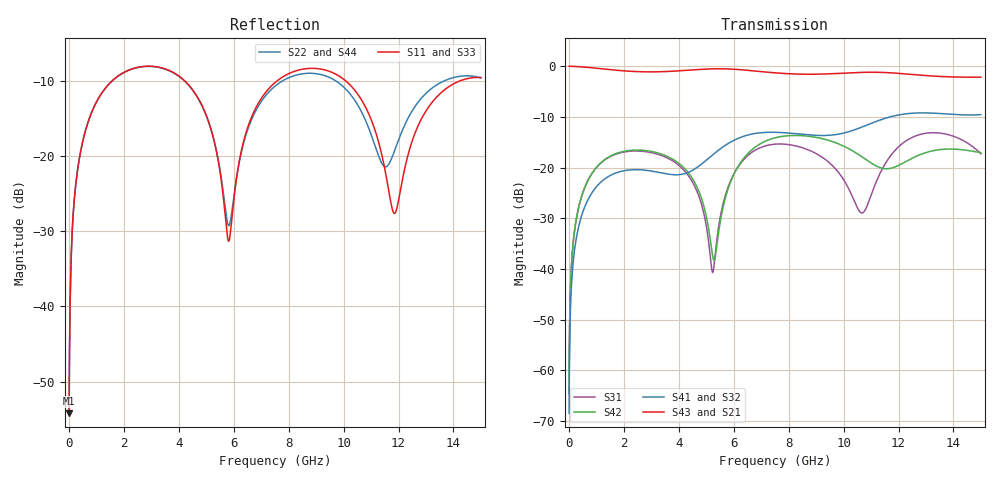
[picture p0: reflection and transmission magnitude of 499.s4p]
! Created with skrf 1.8.0 (http://scikit-rf.org).
# GHz S RI R 50.0
!freq ReS11 ImS11 ReS12 ImS12 ReS13 ImS13
! ReS14 ImS14
! ReS21 ImS21 ReS22 ImS22 ReS23 ImS23
! ReS24 ImS24
! ReS31 ImS31 ReS32 ImS32 ReS33 ImS33
! ReS34 ImS34
! ReS41 ImS41 ReS42 ImS42 ReS43 ImS43
! ReS44 ImS44
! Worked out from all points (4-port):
!   2499 points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, 5 MHz to 15 GHz, reference 50 ohm
!   strongest paths, dB at 5 MHz, 3.476 GHz, 7.19 GHz, 11.1 GHz, 15 GHz:
!     S43: 0.0, -1.1, -1.2, -1.2, -2.2
!     S21: 0.0, -1.1, -1.2, -1.2, -2.2
!     S41: -68.5, -21.2, -13.1, -11.1, -9.6
!     S32: -68.5, -21.2, -13.1, -11.1, -9.6
!     S42: -64.6, -17.6, -14.7, -19.4, -17.1
!     S31: -64.6, -17.9, -15.7, -24.1, -17.3
!   lowest |S11| = -54.2 dB at 5 MHz (marker M1), VSWR 1.00, Z = 50.2 + j0.118 ohm
!   |S11| at or under -10 dB: start of sweep to 1.56 GHz; 4.225 GHz to 7.566 GHz (3.34 GHz wide, 56.7 % of centre); 10.09 GHz to 14.21 GHz (4.126 GHz wide, 34 % of centre)
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0.005  0.00155 0.00118  0.9984 -0.00301  7.63e-05 0.000583  -7.43e-05 -0.00037
       0.9984 -0.00301  0.00155 0.00118  -7.43e-05 -0.00037  7.64e-05 0.000583
       7.63e-05 0.000583  -7.43e-05 -0.00037  0.00155 0.00118  0.9984 -0.00301
       -7.43e-05 -0.00037  7.64e-05 0.000583  0.9984 -0.00301  0.00155 0.00118
0.3126303  0.0218 0.078  0.9704 -0.1876  0.00928 0.0349  -0.00793 -0.022
           0.9704 -0.1876  0.0217 0.078  -0.00793 -0.022  0.00963 0.0348
           0.00928 0.0349  -0.00793 -0.022  0.0218 0.0779  0.9704 -0.1876
           -0.00793 -0.022  0.00963 0.0348  0.9704 -0.1876  0.0217 0.078
1.569404  0.2575 0.1855  0.5803 -0.7121  0.1141 0.0642  -0.0846 -0.0113
          0.5803 -0.7121  0.2561 0.1864  -0.0845 -0.0113  0.1186 0.0586
          0.1141 0.0642  -0.0845 -0.0113  0.2576 0.1855  0.5803 -0.7121
          -0.0846 -0.0113  0.1186 0.0586  0.5803 -0.7121  0.2561 0.1865
5.646103  0.0289 -0.0385  -0.9287 -0.146  -0.00933 0.0469  -0.0223 0.1609
          -0.9287 -0.146  0.0364 -0.0382  -0.0229 0.1608  -0.00313 0.0446
          -0.00933 0.0469  -0.0229 0.1608  0.0298 -0.0399  -0.9285 -0.1462
          -0.0223 0.1609  -0.00313 0.0446  -0.9285 -0.1462  0.0359 -0.0398
9.060025  0.3786 -0.0577  0.0287 0.8315  0.1321 -0.0249  0.1958 -0.0682
          0.0287 0.8315  0.3519 -0.0312  0.1959 -0.0665  0.129 -0.1487
          0.1321 -0.0249  0.1959 -0.0665  0.3774 -0.0589  0.0298 0.832
          0.1958 -0.0682  0.129 -0.1487  0.0298 0.832  0.3501 -0.0305
11.84869  0.0412 -0.00561  0.8533 0.0316  0.0885 0.115  0.000736 -0.3234
          0.8533 0.0316  0.0958 0.0495  0.00294 -0.3232  -0.0534 0.0854
          0.0885 0.115  0.00294 -0.3232  0.0444 -0.00265  0.8534 0.0283
          0.000736 -0.3234  -0.0534 0.0854  0.8534 0.0283  0.093 0.052
15  0.334 -0.0049  -0.00584 -0.7788  0.0762 -0.1132  -0.3298 0.0407
    -0.00584 -0.7788  0.3294 -0.0462  -0.3295 0.0361  0.0497 -0.131
    0.0762 -0.1132  -0.3295 0.0361  0.3371 -0.0134  -0.01 -0.7777
    -0.3298 0.0407  0.0497 -0.131  -0.01 -0.7777  0.3318 -0.041
